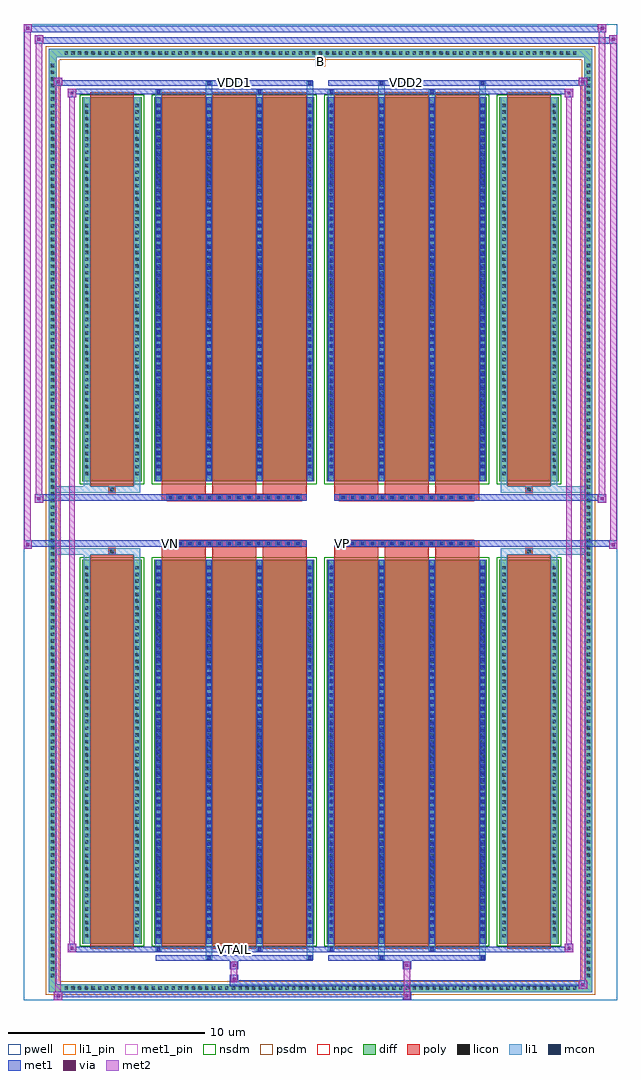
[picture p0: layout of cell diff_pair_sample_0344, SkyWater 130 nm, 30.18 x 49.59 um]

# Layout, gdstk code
import gdstk
lib = gdstk.Library(unit=1e-6, precision=5e-09)
def R(c, l, rs):  # rectangles x0, y0, x1, y1
    for r in rs: c.add(gdstk.rectangle(r[:2], r[2:], *l))
def A(c, l, x, y, w, h, nx, ny, dx, dy):  # array of equal rectangles
    R(c, l, [(x+i*dx, y+j*dy, x+i*dx+w, y+j*dy+h) for i in range(nx) for j in range(ny)])
def P(c, l, *ps):  # polygons
    for p in ps: c.add(gdstk.Polygon(p, *l))
pwell = (64, 44)
diff = (65, 20)
poly = (66, 20)
licon = (66, 44)
li1_pin = (67, 16)
li1 = (67, 20)
mcon = (67, 44)
met1_pin = (68, 16)
met1 = (68, 20)
via = (68, 44)
met2 = (69, 20)
nsdm = (93, 44)
psdm = (94, 20)
npc = (95, 20)

diff_pair_sample_0344 = lib.new_cell('diff_pair_sample_0344')
R(diff_pair_sample_0344, pwell, [(-15.09,-24.36,15.09,25.23), (-12.41,-22.55,-0.01,-0.805), (0.01,-22.55,12.41,-0.805), (-12.41,0.805,-0.01,22.55), (0.01,0.805,12.41,22.55)])
A(diff_pair_sample_0344, diff, -13.125, -23.96, 0.41, 0.41, 77, 2, 0.34, 47.51)
A(diff_pair_sample_0344, diff, -13.82, -23.325, 0.41, 0.41, 1, 137, 0, 0.34)
A(diff_pair_sample_0344, diff, 13.41, -23.325, 0.41, 0.41, 1, 137, 0, 0.34)
R(diff_pair_sample_0344, diff, [(-13.125,-23.96,13.125,-23.55), (-13.82,-23.325,-13.41,23.325), (13.41,-23.325,13.82,23.325), (-12.1,-21.505,-9.09,-1.985), (-8.45,-21.505,-0.32,-1.985), (0.32,-21.505,8.45,-1.985), (9.09,-21.505,12.1,-1.985), (-12.1,1.985,-9.09,21.505), (-8.45,1.985,-0.32,21.505), (0.32,1.985,8.45,21.505), (9.09,1.985,12.1,21.505), (-13.125,23.55,13.125,23.96)])
P(diff_pair_sample_0344, diff, [(13.82,23.96),(-13.82,23.96),(-13.82,-23.55),(-13.41,-23.55),(-13.41,23.55),(13.41,23.55),(13.41,-23.55),(-13.41,-23.55),(-13.82,-23.55),(-13.82,-23.96),(13.82,-23.96)])
A(diff_pair_sample_0344, poly, -8.06, -21.755, 2.23, 20.02, 3, 2, 2.56, 23.49)
A(diff_pair_sample_0344, poly, 0.71, -21.755, 2.23, 20.02, 3, 2, 2.56, 23.49)
A(diff_pair_sample_0344, poly, -8.06, -1.735, 2.23, 0.4, 3, 2, 2.56, 3.07)
A(diff_pair_sample_0344, poly, 0.71, -1.735, 2.23, 0.4, 3, 2, 2.56, 3.07)
A(diff_pair_sample_0344, poly, -7.8, -1.335, 0.33, 0.33, 14, 2, 0.5, 2.34)
A(diff_pair_sample_0344, poly, 0.97, -1.335, 0.33, 0.33, 14, 2, 0.5, 2.34)
R(diff_pair_sample_0344, poly, [(-11.71,-21.755,-9.48,-1.735), (9.48,-21.755,11.71,-1.735), (-10.76,-1.735,-10.43,-1.405), (-10.76,-1.735,-10.43,-1.405), (10.43,-1.735,10.76,-1.405), (10.43,-1.735,10.76,-1.405), (-8.06,-1.335,-0.71,-1.005), (0.71,-1.335,8.06,-1.005), (-8.06,1.005,-0.71,1.335), (0.71,1.005,8.06,1.335), (-10.76,1.405,-10.43,1.735), (-10.76,1.405,-10.43,1.735), (10.43,1.405,10.76,1.735), (10.43,1.405,10.76,1.735), (-11.71,1.735,-9.48,21.755), (9.48,1.735,11.71,21.755)])
A(diff_pair_sample_0344, licon, -13.005, -23.84, 0.17, 0.17, 77, 2, 0.34, 47.51)
A(diff_pair_sample_0344, licon, -13.7, -23.205, 0.17, 0.17, 1, 137, 0, 0.34)
A(diff_pair_sample_0344, licon, 13.53, -23.205, 0.17, 0.17, 1, 137, 0, 0.34)
A(diff_pair_sample_0344, licon, -11.96, -21.18, 0.17, 0.17, 1, 56, 0, 0.34)
A(diff_pair_sample_0344, licon, -9.4, -21.18, 0.17, 0.17, 1, 56, 0, 0.34)
A(diff_pair_sample_0344, licon, -8.31, -21.18, 0.17, 0.17, 4, 56, 2.56, 0.34)
A(diff_pair_sample_0344, licon, 0.46, -21.18, 0.17, 0.17, 4, 56, 2.56, 0.34)
A(diff_pair_sample_0344, licon, 9.23, -21.18, 0.17, 0.17, 1, 56, 0, 0.34)
A(diff_pair_sample_0344, licon, 11.79, -21.18, 0.17, 0.17, 1, 56, 0, 0.34)
A(diff_pair_sample_0344, licon, -7.72, -1.255, 0.17, 0.17, 14, 2, 0.5, 2.34)
A(diff_pair_sample_0344, licon, 1.05, -1.255, 0.17, 0.17, 14, 2, 0.5, 2.34)
A(diff_pair_sample_0344, licon, -11.96, 2.31, 0.17, 0.17, 1, 56, 0, 0.34)
A(diff_pair_sample_0344, licon, -9.4, 2.31, 0.17, 0.17, 1, 56, 0, 0.34)
A(diff_pair_sample_0344, licon, -8.31, 2.31, 0.17, 0.17, 4, 56, 2.56, 0.34)
A(diff_pair_sample_0344, licon, 0.46, 2.31, 0.17, 0.17, 4, 56, 2.56, 0.34)
A(diff_pair_sample_0344, licon, 9.23, 2.31, 0.17, 0.17, 1, 56, 0, 0.34)
A(diff_pair_sample_0344, licon, 11.79, 2.31, 0.17, 0.17, 1, 56, 0, 0.34)
R(diff_pair_sample_0344, licon, [(-10.68,-1.655,-10.51,-1.485), (10.51,-1.655,10.68,-1.485), (-10.68,1.485,-10.51,1.655), (10.51,1.485,10.68,1.655)])
R(diff_pair_sample_0344, li1_pin, [(-0.25,23.05,0.25,23.55)])
A(diff_pair_sample_0344, li1, -13.085, -23.92, 0.33, 0.33, 77, 2, 0.34, 47.51)
A(diff_pair_sample_0344, li1, -13.78, -23.285, 0.33, 0.33, 1, 137, 0, 0.34)
A(diff_pair_sample_0344, li1, 13.45, -23.285, 0.33, 0.33, 1, 137, 0, 0.34)
A(diff_pair_sample_0344, li1, -8.39, -21.505, 0.33, 19.52, 4, 2, 2.56, 23.49)
A(diff_pair_sample_0344, li1, 0.38, -21.505, 0.33, 19.52, 4, 2, 2.56, 23.49)
A(diff_pair_sample_0344, li1, -12.04, -21.26, 0.33, 0.33, 1, 56, 0, 0.34)
A(diff_pair_sample_0344, li1, -9.48, -21.26, 0.33, 0.33, 1, 56, 0, 0.34)
A(diff_pair_sample_0344, li1, -8.39, -21.26, 0.33, 0.33, 4, 56, 2.56, 0.34)
A(diff_pair_sample_0344, li1, 0.38, -21.26, 0.33, 0.33, 4, 56, 2.56, 0.34)
A(diff_pair_sample_0344, li1, 9.15, -21.26, 0.33, 0.33, 1, 56, 0, 0.34)
A(diff_pair_sample_0344, li1, 11.71, -21.26, 0.33, 0.33, 1, 56, 0, 0.34)
A(diff_pair_sample_0344, li1, -8.31, -21.19, 0.17, 0.17, 4, 53, 2.56, 0.36)
A(diff_pair_sample_0344, li1, -8.31, -21.19, 0.17, 18.89, 4, 2, 2.56, 23.49)
A(diff_pair_sample_0344, li1, 0.46, -21.19, 0.17, 0.17, 4, 53, 2.56, 0.36)
A(diff_pair_sample_0344, li1, 0.46, -21.19, 0.17, 18.89, 4, 2, 2.56, 23.49)
A(diff_pair_sample_0344, li1, -7.8, -1.335, 0.33, 0.33, 14, 2, 0.5, 2.34)
A(diff_pair_sample_0344, li1, 0.97, -1.335, 0.33, 0.33, 14, 2, 0.5, 2.34)
A(diff_pair_sample_0344, li1, -12.04, 2.23, 0.33, 0.33, 1, 56, 0, 0.34)
A(diff_pair_sample_0344, li1, -9.48, 2.23, 0.33, 0.33, 1, 56, 0, 0.34)
A(diff_pair_sample_0344, li1, -8.39, 2.23, 0.33, 0.33, 4, 56, 2.56, 0.34)
A(diff_pair_sample_0344, li1, 0.38, 2.23, 0.33, 0.33, 4, 56, 2.56, 0.34)
A(diff_pair_sample_0344, li1, 9.15, 2.23, 0.33, 0.33, 1, 56, 0, 0.34)
A(diff_pair_sample_0344, li1, 11.71, 2.23, 0.33, 0.33, 1, 56, 0, 0.34)
A(diff_pair_sample_0344, li1, -8.31, 2.3, 0.17, 0.17, 4, 53, 2.56, 0.36)
A(diff_pair_sample_0344, li1, 0.46, 2.3, 0.17, 0.17, 4, 53, 2.56, 0.36)
R(diff_pair_sample_0344, li1, [(-13.82,-23.96,-13.41,-23.55), (-13.82,-23.96,-13.41,-23.55), (-13.41,-23.96,13.41,-23.55), (13.41,-23.96,13.82,-23.55), (13.41,-23.96,13.82,-23.55), (-13.82,-23.55,-13.41,23.55), (13.41,-23.55,13.82,23.55), (-5.83,-22.31,-5.5,-21.505), (-5.75,-22.31,-5.58,-22.14), (-0.71,-22.31,-0.38,-21.505), (-0.63,-22.31,-0.46,-22.14), (2.94,-22.31,3.27,-21.505), (3.02,-22.31,3.19,-22.14), (8.06,-22.31,8.39,-21.505), (8.14,-22.31,8.31,-22.14), (-8.39,-21.88,-8.06,-21.505), (-8.31,-21.88,-8.14,-21.71), (-3.27,-21.88,-2.94,-21.505), (-3.19,-21.88,-3.02,-21.71), (0.38,-21.88,0.71,-21.505), (0.46,-21.88,0.63,-21.71), (5.5,-21.88,5.83,-21.505), (5.58,-21.88,5.75,-21.71), (-12.04,-21.505,-11.71,-1.985), (-9.48,-21.505,-9.15,-1.985), (9.15,-21.505,9.48,-1.985), (11.71,-21.505,12.04,-1.985), (-12.04,-1.985,-11.71,-1.405), (-9.48,-1.985,-9.15,-1.405), (9.15,-1.985,9.48,-1.405), (11.71,-1.985,12.04,-1.405), (-13.82,-1.735,-10.76,-1.405), (-12.04,-1.735,-10.76,-1.405), (-10.76,-1.735,-10.43,-1.405), (-10.43,-1.735,-9.15,-1.405), (9.15,-1.735,10.43,-1.405), (10.43,-1.735,10.76,-1.405), (10.43,-1.735,13.82,-1.405), (10.76,-1.735,12.04,-1.405), (-13.82,1.405,-10.76,1.735), (-12.04,1.405,-10.76,1.735), (-12.04,1.405,-11.71,1.985), (-10.76,1.405,-10.43,1.735), (-10.43,1.405,-9.15,1.735), (-9.48,1.405,-9.15,1.985), (9.15,1.405,10.43,1.735), (9.15,1.405,9.48,1.985), (10.43,1.405,10.76,1.735), (10.43,1.405,13.82,1.735), (10.76,1.405,12.04,1.735), (11.71,1.405,12.04,1.985), (-12.04,1.985,-11.71,21.505), (-9.48,1.985,-9.15,21.505), (9.15,1.985,9.48,21.505), (11.71,1.985,12.04,21.505), (-8.39,21.505,-8.06,21.88), (-5.83,21.505,-5.5,22.31), (-3.27,21.505,-2.94,21.88), (-0.71,21.505,-0.38,22.31), (0.38,21.505,0.71,21.88), (2.94,21.505,3.27,22.31), (5.5,21.505,5.83,21.88), (8.06,21.505,8.39,22.31), (-8.31,21.71,-8.14,21.88), (-3.19,21.71,-3.02,21.88), (0.46,21.71,0.63,21.88), (5.58,21.71,5.75,21.88), (-5.75,22.14,-5.58,22.31), (-0.63,22.14,-0.46,22.31), (3.02,22.14,3.19,22.31), (8.14,22.14,8.31,22.31), (-13.82,23.55,-13.41,23.96), (-13.82,23.55,-13.41,23.96), (-13.41,23.55,13.41,23.96), (13.41,23.55,13.82,23.96), (13.41,23.55,13.82,23.96)])
A(diff_pair_sample_0344, mcon, -8.31, -21.19, 0.17, 0.17, 4, 53, 2.56, 0.36)
A(diff_pair_sample_0344, mcon, 0.46, -21.19, 0.17, 0.17, 4, 53, 2.56, 0.36)
A(diff_pair_sample_0344, mcon, -7.72, -1.255, 0.17, 0.17, 14, 2, 0.5, 2.34)
A(diff_pair_sample_0344, mcon, 1.05, -1.255, 0.17, 0.17, 14, 2, 0.5, 2.34)
A(diff_pair_sample_0344, mcon, -8.31, 2.3, 0.17, 0.17, 4, 53, 2.56, 0.36)
A(diff_pair_sample_0344, mcon, 0.46, 2.3, 0.17, 0.17, 4, 53, 2.56, 0.36)
R(diff_pair_sample_0344, mcon, [(-5.75,-22.31,-5.58,-22.14), (-0.63,-22.31,-0.46,-22.14), (3.02,-22.31,3.19,-22.14), (8.14,-22.31,8.31,-22.14), (-8.31,-21.88,-8.14,-21.71), (-3.19,-21.88,-3.02,-21.71), (0.46,-21.88,0.63,-21.71), (5.58,-21.88,5.75,-21.71), (-8.31,21.71,-8.14,21.88), (-3.19,21.71,-3.02,21.88), (0.46,21.71,0.63,21.88), (5.58,21.71,5.75,21.88), (-5.75,22.14,-5.58,22.31), (-0.63,22.14,-0.46,22.31), (3.02,22.14,3.19,22.31), (8.14,22.14,8.31,22.31)])
R(diff_pair_sample_0344, met1_pin, [(-4.52,-21.92,-4.25,-21.65), (-7.77,-1.295,-7.5,-1.025), (1,-1.295,1.27,-1.025), (-4.52,22.1,-4.25,22.37), (4.25,22.1,4.52,22.37)])
A(diff_pair_sample_0344, met1, -8.37, -21.505, 0.29, 19.52, 4, 2, 2.56, 23.49)
A(diff_pair_sample_0344, met1, 0.4, -21.505, 0.29, 19.52, 4, 2, 2.56, 23.49)
A(diff_pair_sample_0344, met1, -8.37, -21.25, 0.29, 0.29, 4, 53, 2.56, 0.36)
A(diff_pair_sample_0344, met1, 0.4, -21.25, 0.29, 0.29, 4, 53, 2.56, 0.36)
A(diff_pair_sample_0344, met1, -7.78, -1.315, 0.29, 0.29, 14, 2, 0.5, 2.34)
A(diff_pair_sample_0344, met1, 0.99, -1.315, 0.29, 0.29, 14, 2, 0.5, 2.34)
A(diff_pair_sample_0344, met1, -8.37, 2.24, 0.29, 0.29, 4, 53, 2.56, 0.36)
A(diff_pair_sample_0344, met1, 0.4, 2.24, 0.29, 0.29, 4, 53, 2.56, 0.36)
R(diff_pair_sample_0344, met1, [(-13.55,-24.36,-13.12,-23.93), (4.17,-24.36,4.6,-23.93), (-13.55,-24.22,4.6,-23.93), (13.12,-23.79,13.55,-23.36), (-4.6,-23.65,13.55,-23.36), (-4.6,-23.51,-4.17,-23.08), (-4.6,-22.8,-4.17,-22.37), (4.17,-22.8,4.6,-22.37), (-8.37,-22.37,-0.4,-22.08), (-5.81,-22.37,-5.52,-22.08), (-0.69,-22.37,-0.4,-22.08), (0.4,-22.37,8.37,-22.08), (2.96,-22.37,3.25,-22.08), (8.08,-22.37,8.37,-22.08), (-12.84,-21.94,-12.41,-21.51), (-12.84,-21.94,-8.37,-21.65), (-8.37,-21.94,-8.08,-21.65), (-8.37,-21.94,-0.4,-21.65), (-3.25,-21.94,-2.96,-21.65), (-0.4,-21.94,0.4,-21.65), (0.4,-21.94,0.69,-21.65), (0.4,-21.94,8.37,-21.65), (5.52,-21.94,5.81,-21.65), (8.37,-21.94,12.84,-21.65), (12.41,-21.94,12.84,-21.51), (-15.09,-1.435,-14.66,-1.005), (14.66,-1.435,15.09,-1.005), (-15.09,-1.335,-0.71,-1.005), (-8.06,-1.335,-0.71,-1.005), (0.71,-1.335,8.06,-1.005), (0.71,-1.335,15.09,-1.005), (-14.52,0.905,-14.09,1.335), (14.09,0.905,14.52,1.335), (-14.52,1.005,-8.06,1.335), (-8.06,1.005,-0.71,1.335), (0.71,1.005,8.06,1.335), (8.06,1.005,14.52,1.335), (-12.84,21.51,-12.41,21.94), (12.41,21.51,12.84,21.94), (-12.84,21.65,-8.37,21.94), (-8.37,21.65,-8.08,21.94), (-8.37,21.65,-0.4,21.94), (-3.25,21.65,-2.96,21.94), (-0.4,21.65,0.4,21.94), (0.4,21.65,0.69,21.94), (0.4,21.65,8.37,21.94), (5.52,21.65,5.81,21.94), (8.37,21.65,12.84,21.94), (-13.55,22.08,-13.12,22.51), (-13.55,22.08,-8.37,22.37), (-8.37,22.08,-0.4,22.37), (-5.81,22.08,-5.52,22.37), (-0.69,22.08,-0.4,22.37), (0.4,22.08,8.37,22.37), (2.96,22.08,3.25,22.37), (8.08,22.08,8.37,22.37), (8.37,22.08,13.55,22.37), (13.12,22.08,13.55,22.51), (-14.52,24.23,-14.09,24.66), (-14.52,24.23,-12.41,24.56), (-12.41,24.23,12.41,24.56), (12.41,24.23,15.09,24.56), (14.66,24.23,15.09,24.66), (-15.09,24.8,-14.66,25.23), (-15.09,24.8,-12.41,25.13), (-12.41,24.8,12.41,25.13), (12.41,24.8,14.52,25.13), (14.09,24.8,14.52,25.23)])
R(diff_pair_sample_0344, via, [(-13.41,-24.22,-13.26,-24.07), (4.31,-24.22,4.46,-24.07), (13.26,-23.65,13.41,-23.5), (-4.46,-23.37,-4.31,-23.22), (-4.46,-22.66,-4.31,-22.51), (4.31,-22.66,4.46,-22.51), (-12.7,-21.8,-12.55,-21.65), (12.55,-21.8,12.7,-21.65), (-14.95,-1.295,-14.8,-1.145), (14.8,-1.295,14.95,-1.145), (-14.38,1.045,-14.23,1.195), (14.23,1.045,14.38,1.195), (-12.7,21.65,-12.55,21.8), (12.55,21.65,12.7,21.8), (-13.41,22.22,-13.26,22.37), (13.26,22.22,13.41,22.37), (-14.38,24.37,-14.23,24.52), (14.8,24.37,14.95,24.52), (-14.95,24.94,-14.8,25.09), (14.23,24.94,14.38,25.09)])
R(diff_pair_sample_0344, met2, [(-13.55,-24.36,-13.12,-23.93), (-13.48,-24.36,-13.19,22.51), (-13.19,-24.36,-13.12,-23.93), (-13.5,-24.31,-13.17,-23.98), (4.22,-24.31,4.55,-23.98), (4.22,-23.98,4.55,-22.75), (13.12,-23.79,13.55,-23.36), (13.19,-23.79,13.48,22.51), (13.48,-23.79,13.55,-23.36), (13.17,-23.74,13.5,-23.41), (-4.55,-23.46,-4.22,-23.13), (-4.55,-23.13,-4.22,-22.75), (-4.55,-22.75,-4.22,-22.42), (4.22,-22.75,4.55,-22.42), (-12.84,-21.94,-12.41,-21.51), (-12.77,-21.94,-12.48,21.94), (-12.48,-21.94,-12.41,-21.51), (12.41,-21.94,12.84,-21.51), (12.48,-21.94,12.77,21.94), (12.77,-21.94,12.84,-21.51), (-12.79,-21.89,-12.46,-21.56), (12.46,-21.89,12.79,-21.56), (-15.09,-1.435,-14.66,-1.005), (-15.04,-1.435,-14.71,25.23), (-14.71,-1.435,-14.66,-1.005), (14.66,-1.435,15.09,-1.005), (14.71,-1.435,15.04,24.66), (15.04,-1.435,15.09,-1.005), (-15.04,-1.385,-14.71,-1.055), (14.71,-1.385,15.04,-1.055), (-14.52,0.905,-14.09,1.335), (-14.47,0.905,-14.14,24.66), (-14.14,0.905,-14.09,1.335), (14.09,0.905,14.52,1.335), (14.14,0.905,14.47,25.23), (14.47,0.905,14.52,1.335), (-14.47,0.955,-14.14,1.285), (14.14,0.955,14.47,1.285), (-12.84,21.51,-12.41,21.94), (-12.48,21.51,-12.41,21.94), (12.41,21.51,12.84,21.94), (12.77,21.51,12.84,21.94), (-12.79,21.56,-12.46,21.89), (12.46,21.56,12.79,21.89), (-13.55,22.08,-13.12,22.51), (-13.19,22.08,-13.12,22.51), (13.12,22.08,13.55,22.51), (13.48,22.08,13.55,22.51), (-13.5,22.13,-13.17,22.46), (13.17,22.13,13.5,22.46), (-14.52,24.23,-14.09,24.66), (-14.14,24.23,-14.09,24.66), (14.66,24.23,15.09,24.66), (15.04,24.23,15.09,24.66), (-14.47,24.28,-14.14,24.61), (14.71,24.28,15.04,24.61), (-15.09,24.8,-14.66,25.23), (-14.71,24.8,-14.66,25.23), (14.09,24.8,14.52,25.23), (14.47,24.8,14.52,25.23), (-15.04,24.85,-14.71,25.18), (14.14,24.85,14.47,25.18)])
R(diff_pair_sample_0344, nsdm, [(-12.23,-21.635,-8.96,-1.855), (-8.58,-21.635,-0.19,-1.855), (0.19,-21.635,8.58,-1.855), (8.96,-21.635,12.23,-1.855), (-12.23,1.855,-8.96,21.635), (-8.58,1.855,-0.19,21.635), (0.19,1.855,8.58,21.635), (8.96,1.855,12.23,21.635)])
P(diff_pair_sample_0344, psdm, [(13.95,24.09),(-13.95,24.09),(-13.95,-23.42),(-13.28,-23.42),(-13.28,23.42),(13.28,23.42),(13.28,-23.42),(-13.28,-23.42),(-13.95,-23.42),(-13.95,-24.09),(13.95,-24.09)])
A(diff_pair_sample_0344, npc, -7.82, -1.355, 0.37, 0.37, 14, 2, 0.5, 2.34)
A(diff_pair_sample_0344, npc, 0.95, -1.355, 0.37, 0.37, 14, 2, 0.5, 2.34)
R(diff_pair_sample_0344, npc, [(-10.78,-1.755,-10.41,-1.385), (10.41,-1.755,10.78,-1.385), (-7.82,-1.355,-6.95,-0.985), (-7.82,-1.355,-6.95,-0.985), (-7.32,-1.355,-6.45,-0.985), (-7.32,-1.355,-6.45,-0.985), (-6.82,-1.355,-5.95,-0.985), (-6.82,-1.355,-5.95,-0.985), (-6.32,-1.355,-5.45,-0.985), (-6.32,-1.355,-5.45,-0.985), (-5.82,-1.355,-4.95,-0.985), (-5.82,-1.355,-4.95,-0.985), (-5.32,-1.355,-4.45,-0.985), (-5.32,-1.355,-4.45,-0.985), (-4.82,-1.355,-3.95,-0.985), (-4.82,-1.355,-3.95,-0.985), (-4.32,-1.355,-3.45,-0.985), (-4.32,-1.355,-3.45,-0.985), (-3.82,-1.355,-2.95,-0.985), (-3.82,-1.355,-2.95,-0.985), (-3.32,-1.355,-2.45,-0.985), (-3.32,-1.355,-2.45,-0.985), (-2.82,-1.355,-1.95,-0.985), (-2.82,-1.355,-1.95,-0.985), (-2.32,-1.355,-1.45,-0.985), (-2.32,-1.355,-1.45,-0.985), (-1.82,-1.355,-0.95,-0.985), (-1.82,-1.355,-0.95,-0.985), (0.95,-1.355,1.82,-0.985), (0.95,-1.355,1.82,-0.985), (1.45,-1.355,2.32,-0.985), (1.45,-1.355,2.32,-0.985), (1.95,-1.355,2.82,-0.985), (1.95,-1.355,2.82,-0.985), (2.45,-1.355,3.32,-0.985), (2.45,-1.355,3.32,-0.985), (2.95,-1.355,3.82,-0.985), (2.95,-1.355,3.82,-0.985), (3.45,-1.355,4.32,-0.985), (3.45,-1.355,4.32,-0.985), (3.95,-1.355,4.82,-0.985), (3.95,-1.355,4.82,-0.985), (4.45,-1.355,5.32,-0.985), (4.45,-1.355,5.32,-0.985), (4.95,-1.355,5.82,-0.985), (4.95,-1.355,5.82,-0.985), (5.45,-1.355,6.32,-0.985), (5.45,-1.355,6.32,-0.985), (5.95,-1.355,6.82,-0.985), (5.95,-1.355,6.82,-0.985), (6.45,-1.355,7.32,-0.985), (6.45,-1.355,7.32,-0.985), (6.95,-1.355,7.82,-0.985), (6.95,-1.355,7.82,-0.985), (-7.82,0.985,-6.95,1.355), (-7.82,0.985,-6.95,1.355), (-7.32,0.985,-6.45,1.355), (-7.32,0.985,-6.45,1.355), (-6.82,0.985,-5.95,1.355), (-6.82,0.985,-5.95,1.355), (-6.32,0.985,-5.45,1.355), (-6.32,0.985,-5.45,1.355), (-5.82,0.985,-4.95,1.355), (-5.82,0.985,-4.95,1.355), (-5.32,0.985,-4.45,1.355), (-5.32,0.985,-4.45,1.355), (-4.82,0.985,-3.95,1.355), (-4.82,0.985,-3.95,1.355), (-4.32,0.985,-3.45,1.355), (-4.32,0.985,-3.45,1.355), (-3.82,0.985,-2.95,1.355), (-3.82,0.985,-2.95,1.355), (-3.32,0.985,-2.45,1.355), (-3.32,0.985,-2.45,1.355), (-2.82,0.985,-1.95,1.355), (-2.82,0.985,-1.95,1.355), (-2.32,0.985,-1.45,1.355), (-2.32,0.985,-1.45,1.355), (-1.82,0.985,-0.95,1.355), (-1.82,0.985,-0.95,1.355), (0.95,0.985,1.82,1.355), (0.95,0.985,1.82,1.355), (1.45,0.985,2.32,1.355), (1.45,0.985,2.32,1.355), (1.95,0.985,2.82,1.355), (1.95,0.985,2.82,1.355), (2.45,0.985,3.32,1.355), (2.45,0.985,3.32,1.355), (2.95,0.985,3.82,1.355), (2.95,0.985,3.82,1.355), (3.45,0.985,4.32,1.355), (3.45,0.985,4.32,1.355), (3.95,0.985,4.82,1.355), (3.95,0.985,4.82,1.355), (4.45,0.985,5.32,1.355), (4.45,0.985,5.32,1.355), (4.95,0.985,5.82,1.355), (4.95,0.985,5.82,1.355), (5.45,0.985,6.32,1.355), (5.45,0.985,6.32,1.355), (5.95,0.985,6.82,1.355), (5.95,0.985,6.82,1.355), (6.45,0.985,7.32,1.355), (6.45,0.985,7.32,1.355), (6.95,0.985,7.82,1.355), (6.95,0.985,7.82,1.355), (-10.78,1.385,-10.41,1.755), (10.41,1.385,10.78,1.755)])
diff_pair_sample_0344.add(gdstk.Label('VTAIL', (-4.385,-21.785), layer=68, texttype=5))
diff_pair_sample_0344.add(gdstk.Label('VN', (-7.635,-1.16), layer=68, texttype=5))
diff_pair_sample_0344.add(gdstk.Label('VP', (1.135,-1.16), layer=68, texttype=5))
diff_pair_sample_0344.add(gdstk.Label('B', (0,23.3), layer=67, texttype=5))
diff_pair_sample_0344.add(gdstk.Label('VDD2', (4.385,22.235), layer=68, texttype=5))
diff_pair_sample_0344.add(gdstk.Label('VDD1', (-4.385,22.235), layer=68, texttype=5))

lib.write_gds('diff_pair_sample_0344.gds')
